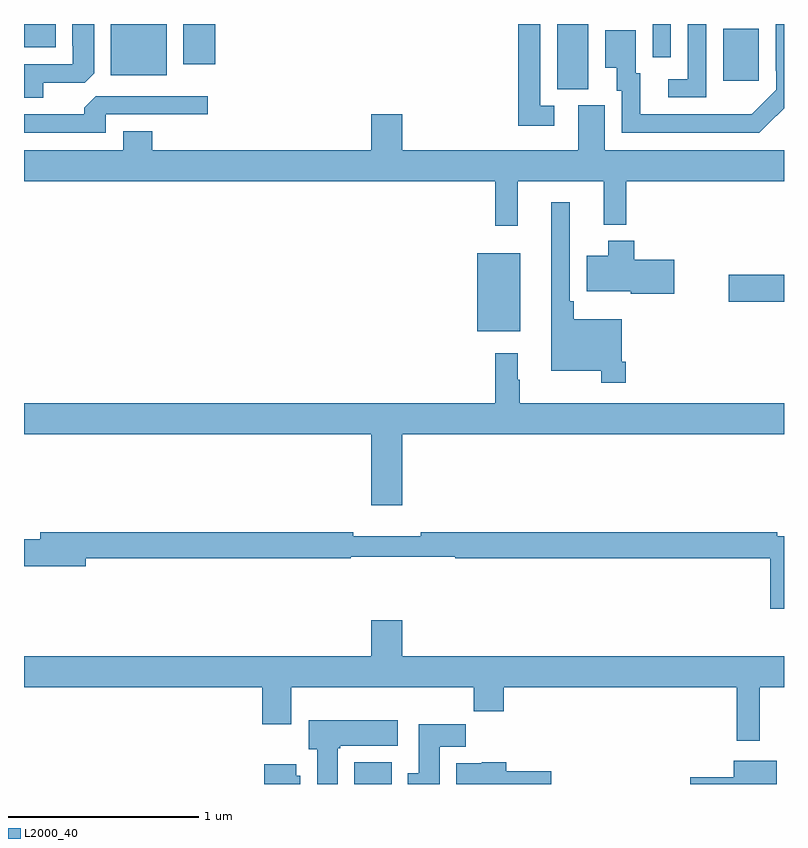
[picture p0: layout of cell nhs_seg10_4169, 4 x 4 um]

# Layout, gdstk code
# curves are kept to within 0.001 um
import gdstk
lib = gdstk.Library(unit=1e-6, precision=1e-09)
def R(c, l, rs):  # rectangles x0, y0, x1, y1
    for r in rs: c.add(gdstk.rectangle(r[:2], r[2:], *l))
def P(c, l, *ps):  # polygons
    for p in ps: c.add(gdstk.Polygon(p, *l))
L2000_40 = (2000, 40)

nhs_seg10_4169 = lib.new_cell('nhs_seg10_4169')
R(nhs_seg10_4169, L2000_40, [(344.738,1274.5,344.935,1274.614), (345.386,1276.883,345.613,1277.293), (346.71,1277.039,347,1277.181), (345.806,1278.157,345.97,1278.5), (346.679,1278.201,346.867,1278.475), (343.457,1278.23,343.75,1278.5), (343.838,1278.288,344.006,1278.5), (346.308,1278.324,346.404,1278.5), (343,1278.377,343.168,1278.5)])
P(nhs_seg10_4169, L2000_40, [(343.102,1278.192),(343.32,1278.192),(343.369,1278.241),(343.369,1278.5),(343.253,1278.5),(343.253,1278.385),(343.257,1278.385),(343.257,1278.288),(343,1278.288),(343,1278.113),(343.102,1278.113)],
  [(346.961,1278.019),(346.962,1278.018),(347,1278.056),(347,1278.5),(346.956,1278.5),(346.956,1278.253),(346.959,1278.253),(346.959,1278.153),(346.831,1278.025),(346.243,1278.024),(346.243,1278.24),(346.219,1278.24),(346.219,1278.466),(346.058,1278.466),(346.058,1278.269),(346.121,1278.269),(346.121,1278.15),(346.146,1278.15),(346.146,1277.928),(346.87,1277.928)],
  [(345.79,1278.069),(345.717,1278.069),(345.717,1278.5),(345.601,1278.5),(345.601,1277.964),(345.79,1277.964)],
  [(346.59,1278.5),(346.494,1278.5),(346.494,1278.21),(346.392,1278.21),(346.392,1278.114),(346.59,1278.114)],
  [(343.431,1278.024),(343.966,1278.024),(343.966,1278.12),(343.377,1278.12),(343.316,1278.058),(343.316,1278.024),(343,1278.024),(343,1277.928),(343.431,1277.928)],
  [(345.599,1277.672),(346.052,1277.672),(346.052,1277.444),(346.169,1277.444),(346.169,1277.672),(347,1277.672),(347,1277.836),(346.057,1277.836),(346.057,1278.072),(345.917,1278.072),(345.917,1277.836),(344.992,1277.836),(344.992,1278.025),(344.828,1278.025),(344.828,1277.836),(343.676,1277.836),(343.676,1277.935),(343.523,1277.935),(343.523,1277.836),(343,1277.836),(343,1277.672),(345.481,1277.672),(345.481,1277.439),(345.599,1277.439)],
  [(346.166,1276.723),(346.146,1276.723),(346.146,1276.945),(345.893,1276.945),(345.893,1277.041),(345.873,1277.041),(345.873,1277.563),(345.776,1277.563),(345.776,1276.676),(346.038,1276.676),(346.038,1276.611),(346.166,1276.611)],
  [(346.423,1277.259),(346.211,1277.259),(346.211,1277.359),(346.076,1277.359),(346.076,1277.281),(345.962,1277.281),(345.962,1277.093),(346.194,1277.093),(346.194,1277.081),(346.423,1277.081)],
  [(344.992,1276.34),(347,1276.34),(347,1276.504),(345.61,1276.504),(345.61,1276.628),(345.598,1276.628),(345.598,1276.768),(345.481,1276.768),(345.481,1276.504),(343,1276.504),(343,1276.34),(344.828,1276.34),(344.828,1275.966),(344.992,1275.966)],
  [(347,1275.804),(346.964,1275.804),(346.964,1275.824),(345.088,1275.824),(345.088,1275.805),(344.732,1275.805),(344.732,1275.824),(343.085,1275.824),(343.085,1275.788),(343,1275.788),(343,1275.646),(343.324,1275.646),(343.324,1275.688),(344.72,1275.688),(344.72,1275.696),(345.269,1275.696),(345.269,1275.688),(346.928,1275.688),(346.928,1275.423),(347,1275.423)],
  [(346.873,1275.008),(347,1275.008),(347,1275.172),(344.992,1275.172),(344.992,1275.361),(344.828,1275.361),(344.828,1275.172),(343,1275.172),(343,1275.008),(344.255,1275.008),(344.255,1274.814),(344.407,1274.814),(344.407,1275.008),(345.367,1275.008),(345.367,1274.884),(345.524,1274.884),(345.524,1275.008),(346.752,1275.008),(346.752,1274.727),(346.873,1274.727)],
  [(344.65,1274.689),(344.664,1274.689),(344.664,1274.702),(344.968,1274.702),(344.968,1274.836),(344.498,1274.836),(344.498,1274.682),(344.543,1274.682),(344.543,1274.5),(344.65,1274.5)],
  [(345.187,1274.696),(345.326,1274.696),(345.326,1274.815),(345.077,1274.815),(345.077,1274.556),(345.02,1274.556),(345.02,1274.5),(345.187,1274.5)],
  [(346.963,1274.623),(346.736,1274.623),(346.736,1274.535),(346.506,1274.535),(346.506,1274.5),(346.963,1274.5)],
  [(345.775,1274.568),(345.539,1274.568),(345.539,1274.614),(345.408,1274.614),(345.408,1274.608),(345.275,1274.608),(345.275,1274.5),(345.775,1274.5)],
  [(344.455,1274.544),(344.434,1274.544),(344.434,1274.605),(344.264,1274.605),(344.264,1274.5),(344.455,1274.5)])

lib.write_gds('nhs_seg10_4169.gds')
